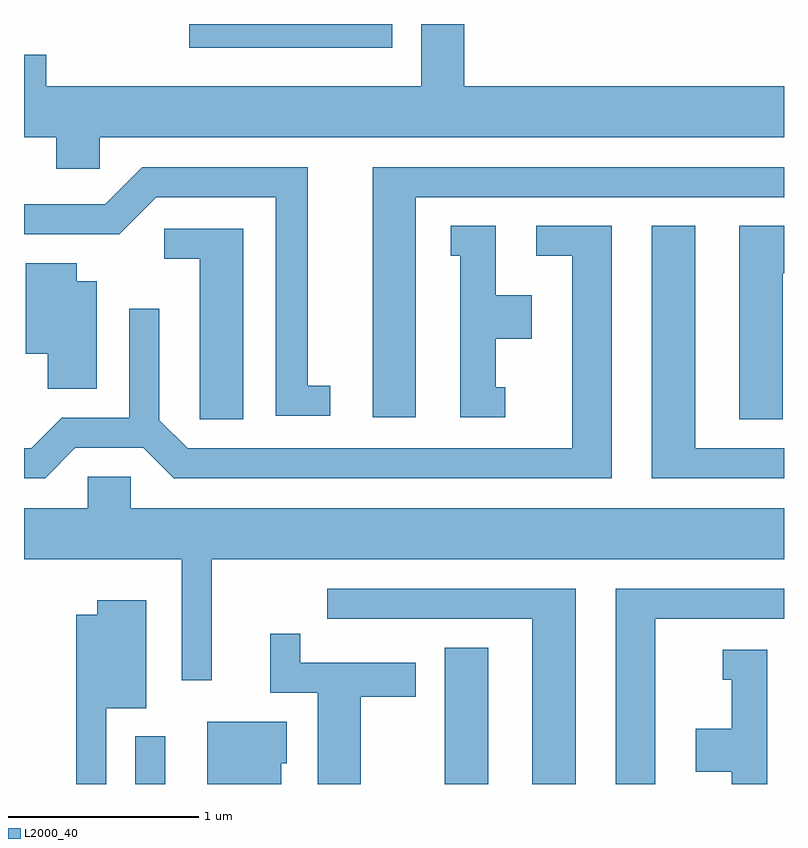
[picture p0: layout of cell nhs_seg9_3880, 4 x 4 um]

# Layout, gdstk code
import gdstk
lib = gdstk.Library(unit=1e-6, precision=1e-09)
def R(c, l, rs):  # rectangles x0, y0, x1, y1
    for r in rs: c.add(gdstk.rectangle(r[:2], r[2:], *l))
def P(c, l, *ps):  # polygons
    for p in ps: c.add(gdstk.Polygon(p, *l))
L2000_40 = (2000, 40)

nhs_seg9_3880 = lib.new_cell('nhs_seg9_3880')
R(nhs_seg9_3880, L2000_40, [(300.196,1968.432,300.354,1968.683), (301.826,1968.432,302.054,1969.149), (300.481,1972.306,301.549,1972.432)])
P(nhs_seg9_3880, L2000_40, [(300.009,1971.836),(303.611,1971.836),(303.611,1972.104),(301.929,1972.104),(301.929,1972.432),(301.701,1972.432),(301.701,1972.104),(299.729,1972.104),(299.729,1972.269),(299.611,1972.269),(299.611,1971.836),(299.781,1971.836),(299.781,1971.671),(300.009,1971.671)],
  [(301.223,1970.529),(301.104,1970.529),(301.104,1971.679),(300.234,1971.679),(300.039,1971.484),(299.611,1971.484),(299.611,1971.326),(300.112,1971.326),(300.307,1971.521),(300.936,1971.521),(300.936,1970.371),(301.223,1970.371)],
  [(301.674,1971.521),(303.611,1971.521),(303.611,1971.679),(301.446,1971.679),(301.446,1970.361),(301.674,1970.361)],
  [(299.882,1970.201),(300.239,1970.201),(300.399,1970.041),(302.704,1970.041),(302.704,1971.369),(302.308,1971.369),(302.308,1971.211),(302.496,1971.211),(302.496,1970.199),(300.472,1970.199),(300.324,1970.347),(300.324,1970.933),(300.166,1970.933),(300.166,1970.359),(299.809,1970.359),(299.649,1970.199),(299.611,1970.199),(299.611,1970.041),(299.722,1970.041)],
  [(302.143,1970.519),(302.094,1970.519),(302.094,1970.776),(302.284,1970.776),(302.284,1971.004),(302.094,1971.004),(302.094,1971.369),(301.858,1971.369),(301.858,1971.211),(301.906,1971.211),(301.906,1970.361),(302.143,1970.361)],
  [(303.604,1971.121),(303.611,1971.121),(303.611,1971.369),(303.376,1971.369),(303.376,1970.351),(303.604,1970.351)],
  [(303.611,1970.199),(303.144,1970.199),(303.144,1971.369),(302.916,1971.369),(302.916,1970.041),(303.611,1970.041)],
  [(300.764,1971.354),(300.348,1971.354),(300.348,1971.196),(300.536,1971.196),(300.536,1970.351),(300.764,1970.351)],
  [(299.994,1971.079),(299.889,1971.079),(299.889,1971.174),(299.621,1971.174),(299.621,1970.696),(299.736,1970.696),(299.736,1970.511),(299.994,1970.511)],
  [(300.599,1969.616),(303.611,1969.616),(303.611,1969.884),(300.174,1969.884),(300.174,1970.049),(299.946,1970.049),(299.946,1969.884),(299.611,1969.884),(299.611,1969.616),(300.441,1969.616),(300.441,1968.978),(300.599,1968.978)],
  [(302.934,1969.301),(303.611,1969.301),(303.611,1969.459),(302.726,1969.459),(302.726,1968.432),(302.934,1968.432)],
  [(302.514,1969.459),(301.208,1969.459),(301.208,1969.301),(302.286,1969.301),(302.286,1968.432),(302.514,1968.432)],
  [(300.044,1968.831),(300.254,1968.831),(300.254,1969.399),(299.996,1969.399),(299.996,1969.324),(299.886,1969.324),(299.886,1968.432),(300.044,1968.432)],
  [(301.384,1968.891),(301.674,1968.891),(301.674,1969.069),(301.064,1969.069),(301.064,1969.223),(300.906,1969.223),(300.906,1968.911),(301.156,1968.911),(301.156,1968.432),(301.384,1968.432)],
  [(303.524,1969.139),(303.288,1969.139),(303.288,1968.981),(303.336,1968.981),(303.336,1968.724),(303.146,1968.724),(303.146,1968.496),(303.336,1968.496),(303.336,1968.432),(303.524,1968.432)],
  [(300.964,1968.541),(300.994,1968.541),(300.994,1968.759),(300.576,1968.759),(300.576,1968.432),(300.964,1968.432)])

lib.write_gds('nhs_seg9_3880.gds')
